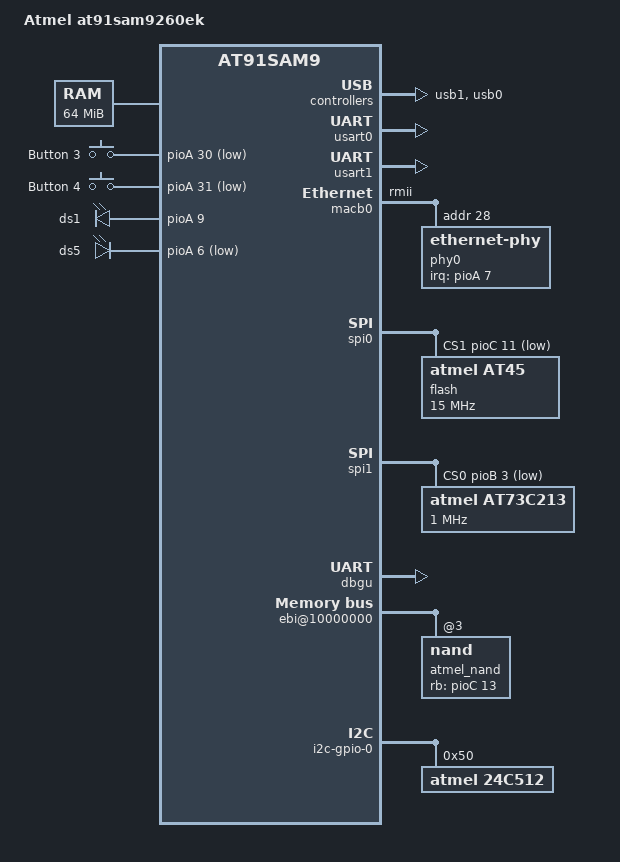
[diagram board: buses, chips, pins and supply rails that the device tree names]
// SPDX-License-Identifier: (GPL-2.0+ OR MIT)
/*
 * Device Tree file for Atmel at91sam9260 Evaluation Kit
 *
 *  Copyright (C) 2016 Atmel,
 *		  2016 Nicolas Ferre <nicolas.ferre@atmel.com>
 */
/dts-v1/;
#include "at91sam9260.dtsi"
#include <dt-bindings/input/input.h>

/ {
	model = "Atmel at91sam9260ek";
	compatible = "atmel,at91sam9260ek", "atmel,at91sam9260", "atmel,at91sam9";

	aliases {
/*	/delete-property/ tcb1;*/
	spi0 = &spi0;
	spi1 = &spi1;
	};

	chosen {
		stdout-path = &dbgu;
	};

	memory@20000000 {
		reg = <0x20000000 0x4000000>;
	};

	clocks {
		slow_xtal {
			clock-frequency = <32768>;
		};

		main_xtal {
			clock-frequency = <18432000>;
		};
	};

	ahb {
		apb {
			tcb0: timer@fffa0000 {
				timer@0 {
					compatible = "atmel,tcb-timer";
					reg = <0>, <1>;
				};

				timer@2 {
					compatible = "atmel,tcb-timer";
					reg = <2>;
				};
			};

			usb1: gadget@fffa4000 {
				atmel,vbus-gpio = <&pioC 5 GPIO_ACTIVE_HIGH>;
				status = "okay";
			};
/*
			mmc0: mmc@fffa8000 {
				pinctrl-0 = <
					&pinctrl_board_mmc0_slot1
					&pinctrl_mmc0_clk
					&pinctrl_mmc0_slot1_cmd_dat0
					&pinctrl_mmc0_slot1_dat1_3>;
				pinctrl-names = "default";
				status = "okay";
				slot@1 {
					reg = <1>;
					bus-width = <4>;
				};
			};
*/

			/delete-node/ mmc@fffa8000;
/*			/delete-node/ timer@fffdc000; */
			tcb1: timer@fffdc000 {
				status = "disabled";
			};		

			usart0: serial@fffb0000 {
				pinctrl-0 =
					<&pinctrl_usart0
					 &pinctrl_usart0_rts
					 &pinctrl_usart0_cts
					 &pinctrl_usart0_dtr_dsr
					 &pinctrl_usart0_dcd
					 &pinctrl_usart0_ri>;
				status = "okay";
			};

			usart1: serial@fffb4000 {
				status = "okay";
			};

			ssc0: ssc@fffbc000 {
				status = "okay";
				pinctrl-0 = <&pinctrl_ssc0_tx>;
			};

			macb0: ethernet@fffc4000 {
				phy-mode = "rmii";
				status = "okay";
				local-mac-address = [92 60 BE EF DE AD];
				#address-cells = <1>;
				#size-cells = <0>;
				pinctrl-names = "default";
                                pinctrl-0 = <&pinctrl_macb_rmii &pinctrl_macb0_phy_irq>;
				phy0: ethernet-phy@0 {
					reg = <0x1c>;
					status = "okay";
					device_type = "ethernet-phy";
					interrupt-parent = <&pioA>;
					interrupts = <7 IRQ_TYPE_EDGE_BOTH>;			
				}; 
			};

			spi0: spi@fffc8000 {
				cs-gpios = <0>, <&pioC 11 1>, <0>, <0>;
				status = "okay"; // Comment this out to enable MMC/SD card
				flash@1 {
					compatible = "atmel,at45", "atmel,dataflash";
					spi-max-frequency = <15000000>;
					reg = <1>;
				};
			};

                        spi1: spi@fffcc000 {
				cs-gpios = <&pioB 3 1>, <0>, <0>, <0>;
				status = "okay";
				at73c213: at73c213@0 {
					reg = <0>;
					compatible = "atmel,at73c213";
					pinctrl-names = "default";
					pinctrl-0 = <&pinctrl_ssc0_mclk>;
					spi-max-frequency = <1000000>;
					clocks = <&pck0 &plla>;
					clock-names = "dac_clk","pllack";
					//spi-cpol = <0>;
					spi-cpha; // mode 1
				};
			};


			dbgu: serial@fffff200 {
				status = "okay";
			};

			pinctrl@fffff400 {
				board {
					pinctrl_board_mmc0_slot1: mmc0_slot1-board {
						atmel,pins =
							<AT91_PIOC 9 AT91_PERIPH_GPIO AT91_PINCTRL_PULL_UP_DEGLITCH>;
					};
				};

				macb {
					pinctrl_macb0_phy_irq: macb0_phy_irq {
						atmel,pins = <AT91_PIOA 7 AT91_PERIPH_GPIO AT91_PINCTRL_NONE>;
						bias-disable;
					};
				};

				spi0 {
					pinctrl_spi0: spi0-0 {
						atmel,pins =
							<AT91_PIOA 0 AT91_PERIPH_A AT91_PINCTRL_NONE    /* PA0 periph A SPI0_MISO pin */
							 AT91_PIOA 1 AT91_PERIPH_A AT91_PINCTRL_NONE    /* PA1 periph A SPI0_MOSI pin */
							 AT91_PIOA 2 AT91_PERIPH_A AT91_PINCTRL_NONE>;    /* PA2 periph A SPI0_SPCK pin */
					};
				};

				spi1 {
					pinctrl_spi1: spi1-0 {
						atmel,pins =
							<AT91_PIOB 0 AT91_PERIPH_A AT91_PINCTRL_NONE    /* PB0 periph A SPI1_MISO pin */
							 AT91_PIOB 1 AT91_PERIPH_A AT91_PINCTRL_NONE    /* PB1 periph A SPI1_MOSI pin */
							 AT91_PIOB 2 AT91_PERIPH_A AT91_PINCTRL_NONE>;    /* PB2 periph A SPI1_SPCK pin */
					};
				};

				helloworld {
					pinctrl_helloworld: helloworld {
						atmel,pins = <AT91_PIOB 30 AT91_PERIPH_A AT91_PINCTRL_NONE>;
					};
				};

				ssc0 {
					pinctrl_ssc0_mclk: ssc0_mclk {
						atmel,pins = <AT91_PIOC 1 AT91_PERIPH_B AT91_PINCTRL_NONE>;
					};
				};
				

				/*/delete-node/ tcb1;*/
				/delete-node/ mmc0;
			};

			shdwc@fffffd10 {
				atmel,wakeup-counter = <10>;
				atmel,wakeup-rtt-timer;
			};

			rtc@fffffd20 {
				atmel,rtt-rtc-time-reg = <&gpbr 0x0>;
				status = "okay";
			};

			watchdog@fffffd40 {
				status = "okay";
			};

			gpbr: syscon@fffffd50 {
				status = "okay";
			};
		};

		usb0: ohci@500000 {
			num-ports = <2>;
		 	status = "okay";
		};
		
		ebi@10000000 {
			status = "okay";
			nand-controller {
				status = "okay";
				nand@3 {
					//#address-cells = <1>;
					//#size-cells = <0>;
					reg = <0x03 0x00 0x800000>;
					nand-bus-width = <0x8>;
					nand-on-flash-bbt;
					nand-ecc-mode = "soft";
					label = "atmel_nand";
					rb-gpios = <&pioC 13 GPIO_ACTIVE_HIGH>;
					cs-gpios = <&pioC 14 GPIO_ACTIVE_HIGH>;
				};
			};
		};
	};

	gpio-keys {
		compatible = "gpio-keys";

		button-3 {
			label = "Button 3";
			gpios = <&pioA 30 GPIO_ACTIVE_LOW>;
			linux,code = <0x103>;
			wakeup-source;
		};

		button-4 {
			label = "Button 4";
			gpios = <&pioA 31 GPIO_ACTIVE_LOW>;
			linux,code = <KEY_PROG1>;
			wakeup-source;
		};
	};

	i2c-gpio-0 {
		status = "okay";

		24c512@50 {
			compatible = "atmel,24c512";
			reg = <0x50>;
		};
	};

	leds {
		compatible = "gpio-leds";

		ds1 {
			label = "ds1";
			gpios = <&pioA 9 GPIO_ACTIVE_HIGH>;
			linux,default-trigger = "heartbeat";
		};

		ds5 {
			label = "ds5";
			gpios = <&pioA 6 GPIO_ACTIVE_LOW>;
		};
	};
	helloworld {
		compatible = "ghazan,helloworld";
		clocks = <&prog0>;
		clock-names = "helloclk";
		foo = "bar";
		number = <0x123>;
		pinctrl-0 = <&pinctrl_helloworld>;
		pinctrl-names = "default";
	};
};
